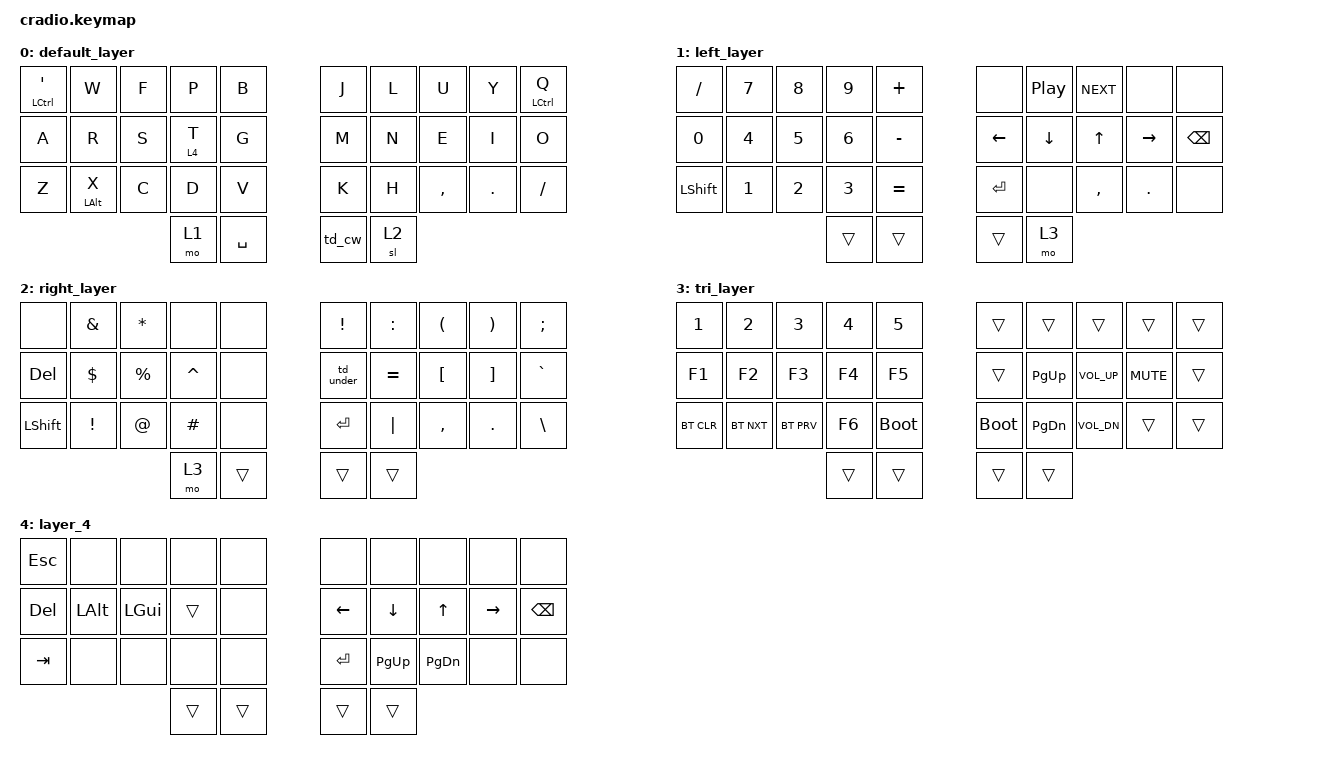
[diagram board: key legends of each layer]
/*

 * Copyright (c) 2020 The ZMK Contributors
 *
 * SPDX-License-Identifier: MIT
 */

#include <behaviors.dtsi>
#include <dt-bindings/zmk/keys.h>
#include <dt-bindings/zmk/bt.h>

&sk {
		quick-release;
};

&caps_word {
    continue-list = <UNDERSCORE MINUS BKSP>;
};

/ {

	combos {
		compatible = "zmk,combos";

		combo_esc {
			timeout-ms = <50>;
			key-positions = <1 2>;
			bindings = <&kp ESC>;
		};

		combo_bspc {
			timeout-ms = <50>;
			key-positions = <7 8>;
			bindings = <&kp BKSP>;
		};

		combo_shft {
			timeout-ms = <50>;
			key-positions = <21 22>;
			bindings = <&kp LSHFT>;
		};

		combo_tab {
			timeout-ms = <50>;
			key-positions = <27 28>;
			bindings = <&kp TAB>;
		};
	};

    behaviors {
        hm: homerow_mods {
            compatible = "zmk,behavior-hold-tap";
            label = "HOMEROW_MODS";
            #binding-cells = <2>;
            tapping-term-ms = <175>;
            quick-tap-ms = <0>;
            flavor = "tap-preferred";
            bindings = <&kp>, <&kp>;
        };
		td_cw: tap_dance_caps_word {
			compatible = "zmk,behavior-tap-dance";
			label = "TAP_DANCE_CAPS_WORD";
			#binding-cells = <0>;
			tapping-term-ms = <175>;
			bindings = <&sk LSHFT>, <&caps_word>;
		};
		td_under: tap_dance_underscore {
			compatible = "zmk,behavior-tap-dance";
			label = "TAP_DANCE_UNDERSCORE";
			#binding-cells = <0>;
			tapping-term-ms = <175>;
			bindings = <&kp MINUS>, <&kp UNDER>;
		};
    };

        keymap {
                compatible = "zmk,keymap";
                
       		default_layer {
		bindings = <
		&hm LCTRL SQT &kp W &kp F &kp P &kp B 					&kp J &kp L  &kp U    &kp Y   &hm LCTRL Q
		&kp A &kp R &kp S &lt 4 T &kp G 			       	    &kp M &kp N  &kp E    &kp I   &kp O
		&kp Z &hm LALT X &kp C &kp D &kp V				        &kp K &kp H  &kp CMMA &kp DOT &kp FSLH
          				            &mo 1 &kp SPC  		&td_cw &sl 2 
		>;
		};

       		left_layer {
		bindings = <
		&kp FSLH  &kp N7   &kp N8  &kp N9  &kp PLUS		        &none    &kp C_PP  &kp C_NEXT &none     &none 
		&kp N0    &kp N4   &kp N5  &kp N6  &kp MINUS 		    &kp LEFT &kp DOWN  &kp UP     &kp RIGHT &kp BKSP 
		&kp LSHFT &kp N1   &kp N2  &kp N3  &kp EQUAL 	        &kp RET  &none     &kp CMMA   &kp DOT   &none 
					                &trans  &trans 			&trans &mo 3 
		>;
		};
		
		right_layer {
		bindings = <
		&none     &kp AMPS  &kp STAR  &none     &none    		&kp EXCL  &kp COLON &kp LPAR &kp RPAR &kp SEMI 
		&kp DEL   &kp DLLR  &kp PRCNT &kp CARET &none			&td_under &kp EQUAL &kp LBKT &kp RBKT &kp GRAVE
		&kp LSHFT &kp EXCL  &kp AT    &kp HASH  &none   		&kp RET   &kp PIPE  &kp CMMA &kp DOT  &kp BSLH
					                 &mo 3    &trans  		&trans  &trans 
		>;
		};	
		
		tri_layer {
		bindings = <
		&kp NUM_1  &kp NUM_2  &kp NUM_3  &kp NUM_4 &kp NUM_5 			&trans &trans   &trans   &trans  &trans
		&kp F1     &kp F2     &kp F3     &kp F4    &kp F5  				&trans &kp PG_UP  &kp K_VOL_UP &kp K_MUTE &trans 
		&bt BT_CLR &bt BT_NXT &bt BT_PRV &kp F6    &bootloader   		&bootloader &kp PG_DN  &kp K_VOL_DN  &trans &trans   
					                    &trans &trans  		&trans &trans 
		>;
		};

        layer_4 {
		bindings = <
		&kp ESC  &none    &none    &none  &none  			    &none    &none     &none     &none     &none
		&kp DEL  &kp LALT &kp LGUI &trans &none  				&kp LEFT &kp DOWN  &kp UP    &kp RIGHT &kp BKSP 
		&kp TAB  &none    &none    &none  &none   				&kp RET  &kp PG_UP &kp PG_DN &none     &none   
					                    &trans &trans  		&trans &trans 
		>;
		};	
        
	};
};
